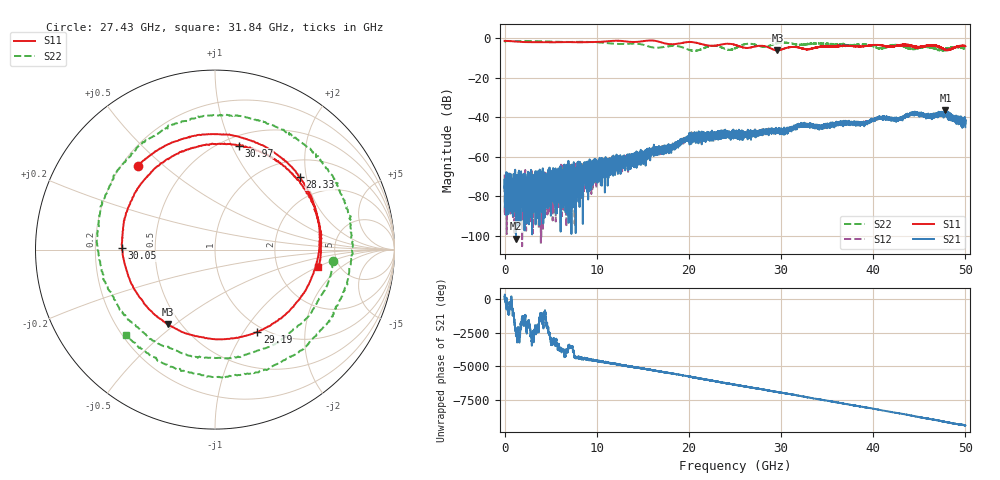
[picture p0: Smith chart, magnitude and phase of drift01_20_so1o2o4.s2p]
!Created with skrf (http://scikit-rf.org).
# Hz S RI R 50.0
!freq ReS11 ImS11 ReS21 ImS21 ReS12 ImS12 ReS22 ImS22
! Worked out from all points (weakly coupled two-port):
!   10001 points, 300 kHz to 50 GHz, reference 50 ohm
!   highest |S21| = -36.54 dB at 47.83 GHz (marker M1); lowest = -101.4 dB at 1.235 GHz (marker M2)
!   lowest |S11| = -6.2 dB at 29.61 GHz (marker M3), VSWR 2.92, Z = 21.6 - j23.6 ohm
!   |S11| at or under -10 dB: nowhere
!   |S22| runs from -6.4 to -1.4 dB; largest |S21 - S12| = 0.0037
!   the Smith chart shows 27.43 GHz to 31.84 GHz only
!   S11 on the Smith chart (normalised r, x): 27.43 GHz: 0.26, +0.41; 28.33 GHz: 1.39, +1.83; 29.19 GHz: 0.93, -1.16; 30.05 GHz: 0.32, +0.01; 30.97 GHz: 0.59, +1.06; 31.84 GHz: 3.48, -1.05
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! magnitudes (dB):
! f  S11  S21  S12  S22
! 300 kHz  -1.3  -75.7  -69.0  -2.1
! 255.3 MHz  -1.4  -80.5  -91.2  -1.4
! 1.235 GHz  -1.7  -101.4  -80.1  -1.4
! 3.71 GHz  -2.0  -82.6  -96.1  -1.5
! 8.335 GHz  -2.0  -66.1  -71.0  -1.8
! 16.67 GHz  -1.6  -58.7  -56.7  -4.8
! 20.23 GHz  -1.9  -50.3  -48.7  -6.1
! 22.61 GHz  -3.8  -48.7  -49.2  -3.8
! 25 GHz  -3.3  -47.8  -48.5  -5.1
! 27.43 GHz  -4.0  -49.3  -49.0  -3.6
! 28.33 GHz  -4.1  -46.5  -46.8  -4.2
! 29.19 GHz  -5.8  -48.0  -46.9  -3.0
! 29.61 GHz  -6.2  -47.0  -46.8  -2.5
! 30.05 GHz  -5.7  -45.9  -47.5  -2.3
! 30.97 GHz  -4.5  -45.2  -46.9  -2.5
! 31.84 GHz  -4.7  -44.1  -43.8  -3.2
! 33.34 GHz  -5.2  -44.6  -44.1  -2.6
! 41.67 GHz  -4.2  -41.1  -40.6  -4.5
! 44.54 GHz  -4.2  -38.7  -38.3  -5.5
! 46.43 GHz  -3.6  -39.1  -39.1  -4.6
! 47.83 GHz  -5.9  -36.5  -38.2  -5.9
! 50 GHz  -4.0  -45.0  -41.6  -5.4
